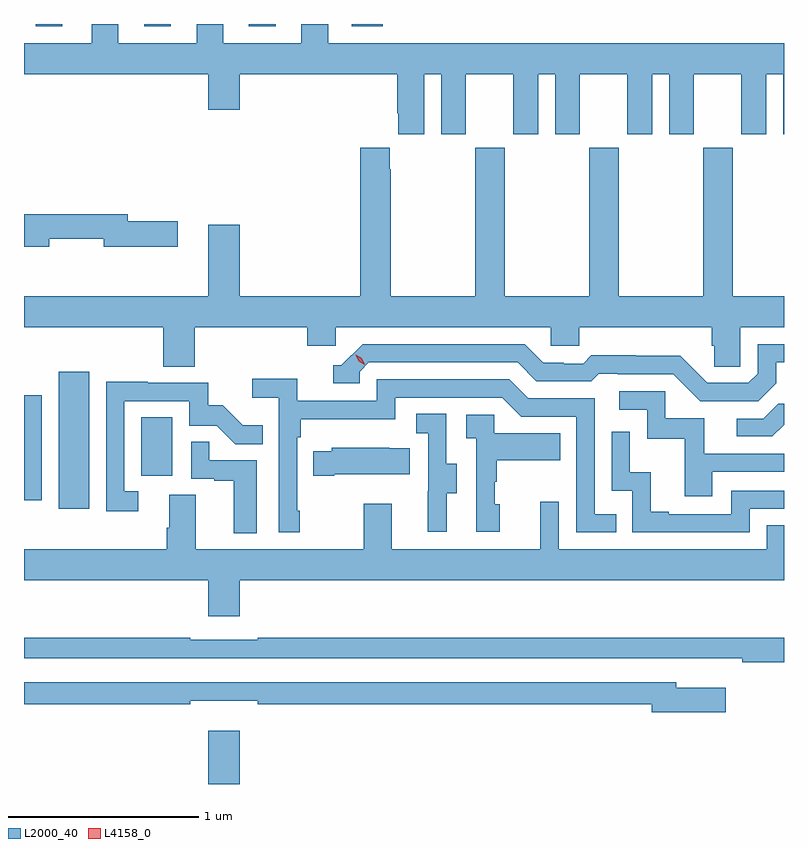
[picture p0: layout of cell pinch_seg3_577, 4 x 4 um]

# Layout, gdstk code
import gdstk
lib = gdstk.Library(unit=1e-6, precision=1e-09)
def R(c, l, rs):  # rectangles x0, y0, x1, y1
    for r in rs: c.add(gdstk.rectangle(r[:2], r[2:], *l))
def P(c, l, *ps):  # polygons
    for p in ps: c.add(gdstk.Polygon(p, *l))
L2000_40 = (2000, 40)
L4158_0 = (4158, 0)

pinch_seg3_577 = lib.new_cell('pinch_seg3_577')
R(pinch_seg3_577, L2000_40, [(1028.144,698.512,1028.308,698.791), (1027.355,699.96,1027.516,700.681), (1027.173,700.006,1027.266,700.558), (1027.79,700.134,1027.954,700.441), (1027.235,702.501,1027.375,702.512), (1027.805,702.501,1027.945,702.512), (1028.357,702.501,1028.497,702.512), (1028.897,702.501,1029.062,702.512)])
P(pinch_seg3_577, L2000_40, [(1029.28,702.248),(1029.368,702.248),(1029.368,701.931),(1029.499,701.931),(1029.499,702.248),(1029.749,702.248),(1029.749,701.931),(1029.88,701.931),(1029.88,702.248),(1029.968,702.248),(1029.968,701.931),(1030.099,701.931),(1030.099,702.248),(1030.349,702.248),(1030.349,701.931),(1030.48,701.931),(1030.48,702.248),(1030.568,702.248),(1030.568,701.931),(1030.699,701.931),(1030.699,702.248),(1030.949,702.248),(1030.949,701.931),(1031.08,701.931),(1031.08,702.248),(1031.168,702.248),(1031.168,701.931),(1031.173,701.931),(1031.173,702.412),(1028.773,702.412),(1028.773,702.512),(1028.633,702.512),(1028.633,702.412),(1028.221,702.412),(1028.221,702.512),(1028.081,702.512),(1028.081,702.412),(1027.669,702.412),(1027.669,702.512),(1027.53,702.512),(1027.53,702.412),(1027.173,702.412),(1027.173,702.248),(1028.144,702.248),(1028.144,702.06),(1028.308,702.06),(1028.308,702.248),(1029.137,702.248),(1029.137,702.043),(1029.143,702.043),(1029.143,701.931),(1029.28,701.931)],
  [(1028.072,700.916),(1028.663,700.916),(1028.663,700.818),(1028.814,700.818),(1028.814,700.916),(1029.945,700.916),(1029.945,700.818),(1030.095,700.818),(1030.095,700.916),(1030.793,700.916),(1030.793,700.818),(1030.807,700.818),(1030.807,700.708),(1030.944,700.708),(1030.944,700.916),(1031.173,700.916),(1031.173,701.08),(1030.902,701.08),(1030.902,701.86),(1030.747,701.86),(1030.747,701.08),(1030.302,701.08),(1030.302,701.86),(1030.147,701.86),(1030.147,701.08),(1029.702,701.08),(1029.702,701.86),(1029.547,701.86),(1029.547,701.08),(1029.102,701.08),(1029.102,701.747),(1029.097,701.747),(1029.097,701.86),(1028.942,701.86),(1028.942,701.08),(1028.308,701.08),(1028.308,701.455),(1028.144,701.455),(1028.144,701.08),(1027.173,701.08),(1027.173,700.916),(1027.907,700.916),(1027.907,700.708),(1028.072,700.708)],
  [(1027.306,701.382),(1027.592,701.382),(1027.592,701.339),(1027.981,701.339),(1027.981,701.474),(1027.72,701.474),(1027.72,701.51),(1027.173,701.51),(1027.173,701.339),(1027.306,701.339)],
  [(1031.131,700.621),(1031.131,700.731),(1031.173,700.731),(1031.173,700.827),(1031.034,700.827),(1031.034,700.671),(1030.986,700.623),(1030.77,700.623),(1030.628,700.765),(1030.392,700.765),(1030.392,700.768),(1030.159,700.768),(1030.117,700.725),(1030.014,700.725),(1030.014,700.728),(1029.907,700.728),(1029.808,700.827),(1028.955,700.827),(1028.844,700.716),(1028.801,700.716),(1028.801,700.62),(1028.94,700.62),(1028.94,700.683),(1028.988,700.731),(1029.771,700.731),(1029.87,700.632),(1030.159,700.632),(1030.198,700.671),(1030.297,700.671),(1030.297,700.668),(1030.59,700.668),(1030.731,700.527),(1031.037,700.527)],
  [(1028.623,699.949),(1028.61,699.949),(1028.61,700.337),(1028.63,700.337),(1028.63,700.433),(1029.126,700.433),(1029.126,700.545),(1029.69,700.545),(1029.789,700.446),(1030.08,700.446),(1030.08,699.837),(1030.289,699.837),(1030.289,699.933),(1030.176,699.933),(1030.176,700.542),(1029.826,700.542),(1029.727,700.641),(1029.03,700.641),(1029.03,700.53),(1028.612,700.53),(1028.612,700.646),(1028.373,700.646),(1028.373,700.544),(1028.514,700.544),(1028.514,699.837),(1028.623,699.837)],
  [(1027.774,700.053),(1027.701,700.053),(1027.701,700.527),(1028.043,700.527),(1028.043,700.398),(1028.188,700.398),(1028.286,700.3),(1028.429,700.3),(1028.429,700.399),(1028.325,700.399),(1028.218,700.506),(1028.142,700.506),(1028.142,700.623),(1027.823,700.623),(1027.823,700.628),(1027.605,700.628),(1027.605,699.948),(1027.774,699.948)],
  [(1030.795,700.155),(1031.173,700.155),(1031.173,700.251),(1030.753,700.251),(1030.753,700.437),(1030.548,700.437),(1030.548,700.578),(1030.305,700.578),(1030.305,700.482),(1030.452,700.482),(1030.452,700.329),(1030.651,700.329),(1030.651,700.026),(1030.795,700.026)],
  [(1031.173,700.404),(1031.173,700.514),(1031.144,700.514),(1031.064,700.434),(1030.923,700.434),(1030.923,700.341),(1031.11,700.341)],
  [(1029.397,700.042),(1029.451,700.042),(1029.451,700.197),(1029.396,700.197),(1029.396,700.46),(1029.237,700.46),(1029.237,700.357),(1029.3,700.357),(1029.3,700.053),(1029.299,700.053),(1029.299,699.84),(1029.397,699.84)],
  [(1029.676,699.984),(1029.651,699.984),(1029.651,700.103),(1029.661,700.103),(1029.661,700.217),(1029.995,700.217),(1029.995,700.357),(1029.648,700.357),(1029.648,700.455),(1029.501,700.455),(1029.501,700.331),(1029.552,700.331),(1029.552,699.84),(1029.676,699.84)],
  [(1030.992,699.96),(1031.173,699.96),(1031.173,700.056),(1030.896,700.056),(1030.896,699.933),(1030.567,699.933),(1030.567,699.946),(1030.472,699.946),(1030.472,700.154),(1030.362,700.154),(1030.362,700.366),(1030.266,700.366),(1030.266,700.056),(1030.374,700.056),(1030.374,699.837),(1030.992,699.837)],
  [(1028.398,700.215),(1028.147,700.215),(1028.147,700.313),(1028.052,700.313),(1028.052,700.119),(1028.173,700.119),(1028.173,700.107),(1028.276,700.107),(1028.276,699.833),(1028.398,699.833)],
  [(1028.806,700.142),(1029.203,700.142),(1029.203,700.279),(1029.095,700.279),(1029.095,700.282),(1028.793,700.282),(1028.793,700.264),(1028.695,700.264),(1028.695,700.135),(1028.806,700.135)],
  [(1028.308,699.584),(1031.173,699.584),(1031.173,699.875),(1031.082,699.875),(1031.082,699.748),(1029.987,699.748),(1029.987,699.997),(1029.89,699.997),(1029.89,699.748),(1029.109,699.748),(1029.109,699.988),(1028.962,699.988),(1028.962,699.748),(1028.077,699.748),(1028.077,700.034),(1027.937,700.034),(1027.937,699.86),(1027.925,699.86),(1027.925,699.748),(1027.173,699.748),(1027.173,699.584),(1028.144,699.584),(1028.144,699.396),(1028.308,699.396)],
  [(1031.173,699.283),(1028.404,699.283),(1028.404,699.27),(1028.048,699.27),(1028.048,699.283),(1027.173,699.283),(1027.173,699.174),(1030.702,699.174),(1030.702,699.173),(1030.954,699.173),(1030.954,699.154),(1031.173,699.154)],
  [(1030.867,699.019),(1030.606,699.019),(1030.606,699.048),(1027.173,699.048),(1027.173,698.932),(1028.048,698.932),(1028.048,698.951),(1028.404,698.951),(1028.404,698.932),(1030.478,698.932),(1030.478,698.89),(1030.867,698.89)])
P(pinch_seg3_577, L4158_0, [(1028.966,700.719),(1028.935,700.738),(1028.919,700.771),(1028.919,700.771),(1028.919,700.771),(1028.95,700.752),(1028.966,700.719),(1028.966,700.719)])

lib.write_gds('pinch_seg3_577.gds')
